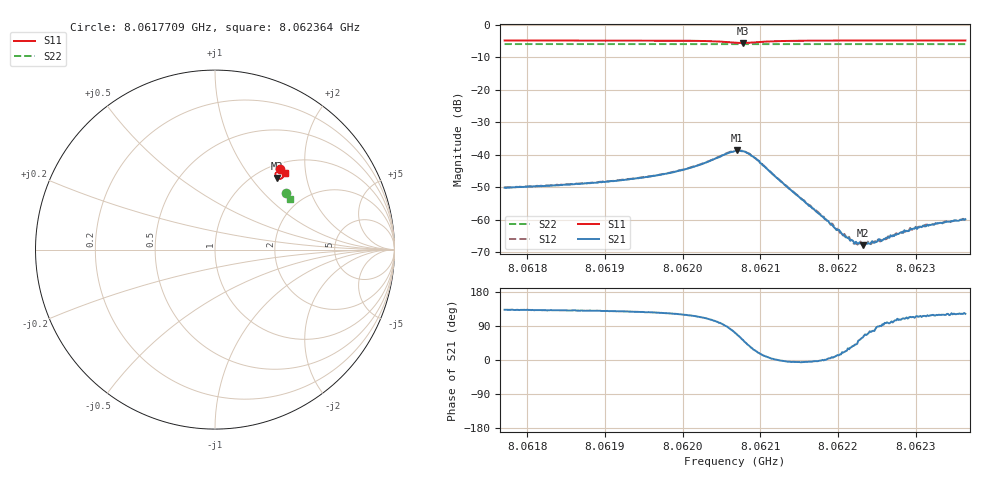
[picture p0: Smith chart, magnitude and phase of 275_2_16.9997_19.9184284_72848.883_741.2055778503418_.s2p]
#  HZ  S  RI  R  50.00
! Rohde & Schwarz Vector Network Analyzer
! Rohde-Schwarz,ZNB20-2Port,1311601062101988,3.16
! Created: UTC 3/20/2024, 11:04:21 PM
! freq[Hz]  re:S11  im:S11  re:S21  im:S21  re:S12  im:S12  re:S22  im:S22
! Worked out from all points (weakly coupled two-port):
!   401 points, 8.0617709 GHz to 8.062364 GHz, reference 50 ohm
!   highest |S21| = -38.68 dB at 8.0620704 GHz (marker M1); lowest = -67.9 dB at 8.062232 GHz (marker M2)
!   lowest |S11| = -5.6 dB at 8.0620778 GHz (marker M3), VSWR 3.23, Z = 61.2 + j67.6 ohm
!   |S11| at or under -10 dB: nowhere
!   |S22| runs from -6.0 to -5.9 dB; largest |S21 - S12| = 0.00085
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8.06177089e9  0.3623 0.4477  -0.0021 0.00228  -0.002 0.00241  0.3982 0.3135
8.06187023e9  0.3695 0.4415  -0.00233 0.00271  -0.00217 0.0029  0.4019 0.3085
8.06191323e9  0.3727 0.438  -0.00248 0.00307  -0.00232 0.00327  0.4034 0.3063
8.06196958e9  0.3776 0.4317  -0.00278 0.004  -0.00253 0.0042  0.4054 0.3032
8.06201555e9  0.3819 0.4211  -0.00289 0.00591  -0.00254 0.00615  0.407 0.3006
8.06205855e9  0.3707 0.3967  0.00074 0.0105  0.00138 0.0107  0.4077 0.2976
8.06206745e9  0.3592 0.3933  0.00353 0.0108  0.00428 0.0107  0.4072 0.2972
8.06207041e9  0.3546 0.394  0.00462 0.0107  0.00538 0.0104  0.4072 0.2971
8.06207783e9  0.3435 0.3994  0.00687 0.00903  0.00747 0.0085  0.407 0.2975
8.06208821e9  0.3364 0.414  0.00815 0.00521  0.00858 0.00487  0.4072 0.2975
8.06209562e9  0.3375 0.4238  0.00774 0.00314  0.00799 0.00267  0.4078 0.2977
8.06213417e9  0.3579 0.4394  0.00322 -0.000231  0.00326 -0.000411  0.4103 0.2962
8.06216679e9  0.3673 0.4385  0.00151 -0.000108  0.00149 -0.000191  0.4117 0.2944
8.06220831e9  0.3741 0.4357  0.000527 0.000206  0.00057 0.000191  0.4133 0.2923
8.06222314e9  0.3759 0.4348  0.000343 0.0003  0.000337 0.000261  0.4139 0.2915
8.06223204e9  0.3769 0.4341  0.000203 0.000347  0.000221 0.000344  0.4142 0.291
8.0622439e9  0.3781 0.4333  0.000112 0.000452  0.00012 0.000423  0.4146 0.2904
8.06226614e9  0.3801 0.432  -6.05e-05 0.00052  -9.53e-05 0.000555  0.4154 0.2892
8.06229728e9  0.3827 0.4301  -0.000289 0.00067  -0.000256 0.000684  0.4165 0.2876
8.06231211e9  0.3839 0.4294  -0.000347 0.000703  -0.000305 0.000769  0.4169 0.2867
8.06234028e9  0.3861 0.4275  -0.000486 0.000789  -0.000431 0.000847  0.4179 0.2853
8.06236401e9  0.3876 0.4262  -0.000537 0.000859  -0.00048 0.000883  0.4187 0.2841
